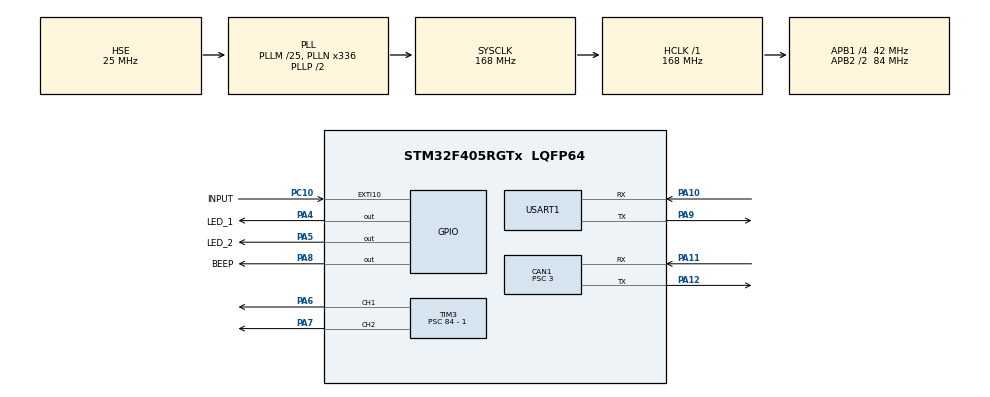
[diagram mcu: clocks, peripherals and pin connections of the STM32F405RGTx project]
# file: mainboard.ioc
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CAN1.ABOM=ENABLE
CAN1.AWUM=ENABLE
CAN1.BS1=CAN_BS1_9TQ
CAN1.BS2=CAN_BS2_4TQ
CAN1.CalculateBaudRate=1000000
CAN1.CalculateTimeBit=1000
CAN1.CalculateTimeQuantum=71.42857142857143
CAN1.NART=ENABLE
CAN1.Prescaler=3
Dma.Request0=USART1_RX
Dma.Request1=USART1_TX
Dma.USART1_RX.0.Direction=DMA_PERIPH_TO_MEMORY
Dma.USART1_RX.0.FIFOMode=DMA_FIFOMODE_DISABLE
Dma.USART1_RX.0.Instance=DMA2_Stream2
Dma.USART1_RX.0.MemDataAlignment=DMA_MDATAALIGN_BYTE
Dma.USART1_RX.0.MemInc=DMA_MINC_ENABLE
Dma.USART1_RX.0.Mode=DMA_NORMAL
Dma.USART1_RX.0.PeriphDataAlignment=DMA_PDATAALIGN_BYTE
Dma.USART1_RX.0.PeriphInc=DMA_PINC_DISABLE
Dma.USART1_RX.0.Priority=DMA_PRIORITY_LOW
Dma.USART1_TX.1.Direction=DMA_MEMORY_TO_PERIPH
Dma.USART1_TX.1.FIFOMode=DMA_FIFOMODE_DISABLE
Dma.USART1_TX.1.Instance=DMA2_Stream7
Dma.USART1_TX.1.MemDataAlignment=DMA_MDATAALIGN_BYTE
Dma.USART1_TX.1.MemInc=DMA_MINC_ENABLE
Dma.USART1_TX.1.Mode=DMA_NORMAL
Dma.USART1_TX.1.PeriphDataAlignment=DMA_PDATAALIGN_BYTE
Dma.USART1_TX.1.PeriphInc=DMA_PINC_DISABLE
Dma.USART1_TX.1.Priority=DMA_PRIORITY_LOW
FREERTOS.Tasks01=LEDTask,24,128,LED_Task,As weak,NULL,Dynamic,NULL,NULL
Mcu.Family=STM32F4
Mcu.Name=STM32F405RGTx
Mcu.Package=LQFP64
NVIC.CAN1_RX0_IRQn=true\:5\:0\:false\:false\:true\:true\:true\:true\:true
NVIC.CAN1_RX1_IRQn=true\:5\:0\:false\:false\:true\:true\:true\:true\:true
NVIC.DMA2_Stream2_IRQn=true\:5\:0\:false\:false\:true\:true\:false\:true\:true
NVIC.DMA2_Stream7_IRQn=true\:5\:0\:false\:false\:true\:true\:false\:true\:true
NVIC.PriorityGroup=NVIC_PRIORITYGROUP_4
NVIC.TIM1_UP_TIM10_IRQn=true\:15\:0\:false\:false\:true\:false\:false\:true\:true
NVIC.TIM2_IRQn=true\:5\:0\:true\:false\:true\:true\:true\:true\:true
NVIC.TimeBase=TIM1_UP_TIM10_IRQn
NVIC.TimeBaseIP=TIM1
NVIC.USART1_IRQn=true\:5\:0\:true\:false\:true\:true\:true\:true\:true
PA10.GPIO_PuPd=GPIO_PULLUP
PA10.Mode=Asynchronous
PA10.Signal=USART1_RX
PA11.Mode=CAN_Activate
PA11.Signal=CAN1_RX
PA12.Mode=CAN_Activate
PA12.Signal=CAN1_TX
PA4.GPIO_Label=LED_1
PA4.GPIO_PuPd=GPIO_PULLDOWN
PA4.Signal=GPIO_Output
PA5.GPIO_Label=LED_2
PA5.GPIO_PuPd=GPIO_PULLDOWN
PA5.Signal=GPIO_Output
PA6.Signal=S_TIM3_CH1
PA7.Signal=S_TIM3_CH2
PA8.GPIO_Label=BEEP
PA8.GPIO_PuPd=GPIO_PULLDOWN
PA8.Signal=GPIO_Output
PA9.Mode=Asynchronous
PA9.Signal=USART1_TX
PC10.GPIO_Label=INPUT
PC10.GPIO_ModeDefaultEXTI=GPIO_MODE_IT_RISING_FALLING
PC10.GPIO_PuPd=GPIO_PULLUP
PC10.Signal=GPXTI10
PH0-OSC_IN.Mode=HSE-External-Oscillator
PH0-OSC_IN.Signal=RCC_OSC_IN
PH1-OSC_OUT.Mode=HSE-External-Oscillator
PH1-OSC_OUT.Signal=RCC_OSC_OUT
ProjectManager.HeapSize=0x800
ProjectManager.StackSize=0x400
ProjectManager.TargetToolchain=MDK-ARM V5.32
RCC.48MHZClocksFreq_Value=84000000
RCC.AHBFreq_Value=168000000
RCC.APB1CLKDivider=RCC_HCLK_DIV4
RCC.APB1Freq_Value=42000000
RCC.APB1TimFreq_Value=84000000
RCC.APB2CLKDivider=RCC_HCLK_DIV2
RCC.APB2Freq_Value=84000000
RCC.APB2TimFreq_Value=168000000
RCC.CortexFreq_Value=168000000
RCC.HCLKFreq_Value=168000000
RCC.HSE_VALUE=25000000
RCC.HSI_VALUE=16000000
RCC.LSE_VALUE=32768
RCC.PLLM=25
RCC.PLLN=336
RCC.PLLSourceVirtual=RCC_PLLSOURCE_HSE
RCC.SYSCLKFreq_VALUE=168000000
RCC.SYSCLKSource=RCC_SYSCLKSOURCE_PLLCLK
RCC.VCOOutputFreq_Value=336000000
SH.S_TIM3_CH1.0=TIM3_CH1,PWM Generation1 CH1
SH.S_TIM3_CH2.0=TIM3_CH2,PWM Generation2 CH2
TIM2.Period=2000-1
TIM2.Prescaler=84-1
TIM3.AutoReloadPreload=TIM_AUTORELOAD_PRELOAD_ENABLE
TIM3.Channel-PWM\ Generation1\ CH1=TIM_CHANNEL_1
TIM3.Channel-PWM\ Generation2\ CH2=TIM_CHANNEL_2
TIM3.OCFastMode_PWM-PWM\ Generation1\ CH1=TIM_OCFAST_DISABLE
TIM3.Period=1000 - 1
TIM3.Prescaler=84 - 1
USART1.VirtualMode=VM_ASYNC
VP_FREERTOS_VS_CMSIS_V2.Mode=CMSIS_V2
VP_SYS_VS_tim1.Mode=TIM1
VP_TIM2_VS_ClockSourceINT.Mode=Internal
VP_TIM3_VS_ClockSourceINT.Mode=Internal
board=custom

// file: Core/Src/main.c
/* USER CODE BEGIN Header */
/**
  ******************************************************************************
  * @file           : main.c
  * @brief          : Main program body
  ******************************************************************************
  * @attention
  *
  * Copyright (c) 2026 STMicroelectronics.
  * All rights reserved.
  *
  * This software is licensed under terms that can be found in the LICENSE file
  * in the root directory of this software component.
  * If no LICENSE file comes with this software, it is provided AS-IS.
  *
  ******************************************************************************
  */
/* USER CODE END Header */
#include "main.h"
#include "cmsis_os.h"
#include "can.h"
#include "dma.h"
#include "tim.h"
#include "usart.h"
#include "gpio.h"

/* USER CODE BEGIN Includes */
#include "UART_IRQ_Handler.h"
#include "breathing_led.h"
/* USER CODE END Includes */

void SystemClock_Config(void);
void MX_FREERTOS_Init(void);

int main(void)
{

  /* MCU Configuration--------------------------------------------------------*/

  /* Reset of all peripherals, Initializes the Flash interface and the Systick. */
  HAL_Init();

  /* Configure the system clock */
  SystemClock_Config();

  /* Initialize all configured peripherals */
  MX_GPIO_Init();
  MX_DMA_Init();
  MX_TIM2_Init();
  MX_TIM3_Init();
  MX_USART1_UART_Init();
  MX_CAN1_Init();
  /* USER CODE BEGIN 2 */
  UART_Start_Receive();
  breathing_led();
  /* USER CODE END 2 */

  /* Init scheduler */
  osKernelInitialize();  /* Call init function for freertos objects (in cmsis_os2.c) */
  MX_FREERTOS_Init();

  /* Start scheduler */
  osKernelStart();

  /* We should never get here as control is now taken by the scheduler */

  /* Infinite loop */
  while (1)
  {

  }
}

void SystemClock_Config(void)
{
  RCC_OscInitTypeDef RCC_OscInitStruct = {0};
  RCC_ClkInitTypeDef RCC_ClkInitStruct = {0};

  /** Configure the main internal regulator output voltage
  */
  __HAL_RCC_PWR_CLK_ENABLE();
  __HAL_PWR_VOLTAGESCALING_CONFIG(PWR_REGULATOR_VOLTAGE_SCALE1);

  /** Initializes the RCC Oscillators according to the specified parameters
  * in the RCC_OscInitTypeDef structure.
  */
  RCC_OscInitStruct.OscillatorType = RCC_OSCILLATORTYPE_HSE;
  RCC_OscInitStruct.HSEState = RCC_HSE_ON;
  RCC_OscInitStruct.PLL.PLLState = RCC_PLL_ON;
  RCC_OscInitStruct.PLL.PLLSource = RCC_PLLSOURCE_HSE;
  RCC_OscInitStruct.PLL.PLLM = 25;
  RCC_OscInitStruct.PLL.PLLN = 336;
  RCC_OscInitStruct.PLL.PLLP = RCC_PLLP_DIV2;
  RCC_OscInitStruct.PLL.PLLQ = 4;
  if (HAL_RCC_OscConfig(&RCC_OscInitStruct) != HAL_OK)
  {
    Error_Handler();
  }

  /** Initializes the CPU, AHB and APB buses clocks
  */
  RCC_ClkInitStruct.ClockType = RCC_CLOCKTYPE_HCLK|RCC_CLOCKTYPE_SYSCLK
                              |RCC_CLOCKTYPE_PCLK1|RCC_CLOCKTYPE_PCLK2;
  RCC_ClkInitStruct.SYSCLKSource = RCC_SYSCLKSOURCE_PLLCLK;
  RCC_ClkInitStruct.AHBCLKDivider = RCC_SYSCLK_DIV1;
  RCC_ClkInitStruct.APB1CLKDivider = RCC_HCLK_DIV4;
  RCC_ClkInitStruct.APB2CLKDivider = RCC_HCLK_DIV2;

  if (HAL_RCC_ClockConfig(&RCC_ClkInitStruct, FLASH_LATENCY_5) != HAL_OK)
  {
    Error_Handler();
  }
}

void HAL_TIM_PeriodElapsedCallback(TIM_HandleTypeDef *htim)
{
  if (htim->Instance == TIM1)
  {
    HAL_IncTick();
  }
}

void Error_Handler(void)
{
  __disable_irq();
  while (1)
  {
  }
}

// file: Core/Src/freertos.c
/* USER CODE BEGIN Header */
/**
  ******************************************************************************
  * File Name          : freertos.c
  * Description        : Code for freertos applications
  ******************************************************************************
  * @attention
  *
  * Copyright (c) 2026 STMicroelectronics.
  * All rights reserved.
  *
  * This software is licensed under terms that can be found in the LICENSE file
  * in the root directory of this software component.
  * If no LICENSE file comes with this software, it is provided AS-IS.
  *
  ******************************************************************************
  */
/* USER CODE END Header */

#include "FreeRTOS.h"
#include "task.h"
#include "main.h"
#include "cmsis_os.h"

/* USER CODE BEGIN Includes */
#include "breathing_led.h"
#include "CAN_IRQ_Handler.h"
/* USER CODE END Includes */

/* USER CODE BEGIN Variables */
osThreadId_t BreathingTaskHandle;
const osThreadAttr_t BreathingTask_attributes = {
  .name = "BreathingTask",
  .stack_size = 128 * 4,
  .priority = (osPriority_t) osPriorityNormal,
};
osThreadId_t TelemetryTaskHandle;
const osThreadAttr_t TelemetryTask_attributes = {
  .name = "TelemetryTask",
  .stack_size = 128 * 4,
  .priority = (osPriority_t) osPriorityNormal,
};
/* USER CODE END Variables */
/* Definitions for LEDTask */
osThreadId_t LEDTaskHandle;
const osThreadAttr_t LEDTask_attributes = {
  .name = "LEDTask",
  .stack_size = 128 * 4,
  .priority = (osPriority_t) osPriorityNormal,
};

/* USER CODE BEGIN FunctionPrototypes */
void Breathing_Task(void *argument);
void Telemetry_Task(void *argument);
/* USER CODE END FunctionPrototypes */

void LED_Task(void *argument);

void MX_FREERTOS_Init(void); /* (MISRA C 2004 rule 8.1) */

void MX_FREERTOS_Init(void) {

  /* Create the thread(s) */
  /* creation of LEDTask */
  LEDTaskHandle = osThreadNew(LED_Task, NULL, &LEDTask_attributes);

  /* USER CODE BEGIN RTOS_THREADS */
  /* add threads, ... */
  BreathingTaskHandle = osThreadNew(Breathing_Task, NULL, &BreathingTask_attributes);
  TelemetryTaskHandle = osThreadNew(Telemetry_Task, NULL, &TelemetryTask_attributes);
  /* USER CODE END RTOS_THREADS */

}

__weak void LED_Task(void *argument)
{
  for(;;)
  {
    osDelay(1);
  }
}

/* USER CODE BEGIN Application */
void Breathing_Task(void *argument)
{
  for(;;){
    breathing_led();
    osDelay(1);   /* ~1ms 周期，非阻塞 */
  }
}

void Telemetry_Task(void *argument)
{
  for(;;){
    CAN_Telemetry_Send();
    osDelay(10);   /* 100Hz 轮询标志；没新数据时函数内部直接 return */
  }
}
/* USER CODE END Application */
